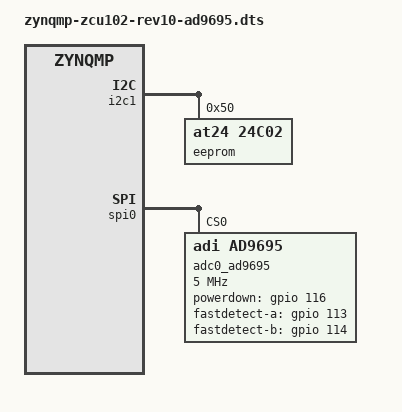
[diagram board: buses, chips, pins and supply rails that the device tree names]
// SPDX-License-Identifier: GPL-2.0
/*
 * Analog Devices AD9695 / AD9689 ANALOG-TO-DIGITAL CONVERTER
 * https://wiki.analog.com/resources/eval/ad9208-3000ebz
 * https://wiki.analog.com/resources/tools-software/linux-drivers/iio-adc/ad9208
 *
 * hdl_project: <ad9695/zcu102>
 * board_revision: <>
 *
 * Copyright (C) 2019-2022 Analog Devices Inc.
 */

#include "zynqmp-zcu102-rev1.0.dts"
#include <dt-bindings/interrupt-controller/irq.h>
#include <dt-bindings/iio/adc/adi,ad9208.h>
#include <dt-bindings/jesd204/adxcvr.h>

&i2c1 {
	i2c-mux@75 {
		i2c@0 {
			#address-cells = <1>;
			#size-cells = <0>;
			reg = <0>;

			eeprom@50 {
				compatible = "at24,24c02";
				reg = <0x50>;
			};
		};
	};
};

/ {
	clocks {
		ad9695_clkin: clock@0 {
			#clock-cells = <0>;
			compatible = "adjustable-clock";
			clock-frequency = <1300000000>;
			clock-accuracy = <1000000000>;
			clock-output-names = "ad9695_clk";
		};
		device_clk: clock@1 {
			#clock-cells = <0>;
			compatible = "adjustable-clock";
			clock-frequency = <325000000>;
			clock-accuracy = <1000000000>;
			clock-output-names = "dev_clk";
		};
		sysref: clock@2 {
			#clock-cells = <0>;
			compatible = "adjustable-clock";
			clock-frequency = <5078125>;
			clock-accuracy = <1000000000>;
			clock-output-names = "adc_sysref";
		};
	};
	fpga_axi: fpga-axi@0 {
		interrupt-parent = <&gic>;
		compatible = "simple-bus";
		#address-cells = <0x1>;
		#size-cells = <0x1>;
		ranges = <0 0 0 0xffffffff>;

		rx_dma: rx-dmac@9c400000 {
			#dma-cells = <1>;
			compatible = "adi,axi-dmac-1.00.a";
			reg = <0x9c400000 0x1000>;
			interrupts = <0 109 IRQ_TYPE_LEVEL_HIGH>;
			clocks = <&zynqmp_clk 71>;

			adi,channels {
				#size-cells = <0>;
				#address-cells = <1>;

				dma-channel@0 {
					reg = <0>;
					adi,source-bus-width = <128>;
					adi,source-bus-type = <1>;
					adi,destination-bus-width = <128>;
					adi,destination-bus-type = <0>;
				};
			};
		};

		axi_ad9695_core: axi-ad9695-hpc@84a00000 {
			compatible = "adi,axi-ad9208-1.0";
			reg = <0x84a00000 0x2000>;
			dmas = <&rx_dma 0>;
			dma-names = "rx";
			spibus-connected = <&adc0_ad9695>;
		};

		axi_ad9695_jesd: axi-jesd204-rx@84aa0000 {
			compatible = "adi,axi-jesd204-rx-1.0";
			reg = <0x84aa0000 0x4000>;
			interrupts = <0 108 IRQ_TYPE_LEVEL_HIGH>;

			clocks = <&zynqmp_clk 71>, <&device_clk>, <&axi_ad9695_adxcvr 0>;
			clock-names = "s_axi_aclk", "device_clk", "lane_clk";

			adi,octets-per-frame = <1>;
			adi,frames-per-multiframe = <32>;
			adi,subclass = <1>;

			#clock-cells = <0>;
			clock-output-names = "jesd_adc_lane_clk";
		};

		axi_ad9695_adxcvr: axi-adxcvr-rx@84a60000 {
			compatible = "adi,axi-adxcvr-1.0";
			reg = <0x84a60000 0x10000>;

			clocks = <&device_clk>, <&device_clk>;
			clock-names = "conv", "div40";

			adi,sys-clk-select = <XCVR_QPLL>;
			adi,out-clk-select = <XCVR_REFCLK>;
			adi,use-lpm-enable;

			#clock-cells = <1>;
			clock-output-names = "adc_gt_clk", "rx_out_clk";
		};

		axi_sysid_0: axi-sysid-0@85000000 {
			compatible = "adi,axi-sysid-1.00.a";
			reg = <0x85000000 0x2000>;
		};
	};
};

&spi0 {
	status = "okay";

	adc0_ad9695: ad9695@0 {
		compatible = "adi,ad9695";

		powerdown-gpios = <&gpio 116 0>;
		fastdetect-a-gpios = <&gpio 113 0>;
		fastdetect-b-gpios = <&gpio 114 0>;

		spi-cpol;
		spi-cpha;
		spi-max-frequency = <5000000>;
		reg = <0>;

		clocks = <&axi_ad9695_jesd>, <&ad9695_clkin>, <&sysref>;
		clock-names = "jesd_adc_clk", "adc_clk", "adc_sysref";

		adi,powerdown-mode = <AD9208_PDN_MODE_POWERDOWN>;

		adi,sampling-frequency = /bits/ 64 <1300000000>;
		adi,input-clock-divider-ratio = <1>;
		adi,duty-cycle-stabilizer-enable;

		adi,analog-input-neg-buffer-current = <AD9208_BUFF_CURR_600_UA>;
		adi,analog-input-pos-buffer-current = <AD9208_BUFF_CURR_600_UA>;

		adi,sysref-lmfc-offset = <0>;
		adi,sysref-pos-window-skew = <0>;
		adi,sysref-neg-window-skew = <0>;
		adi,sysref-mode = <AD9208_SYSREF_CONT>;
		adi,sysref-nshot-ignore-count = <0>;

		/* JESD204 parameters */

		adi,octets-per-frame = <1>;
		adi,frames-per-multiframe = <32>;
		adi,converter-resolution = <16>;
		adi,bits-per-sample = <16>;
		adi,converters-per-device = <2>;
		adi,control-bits-per-sample = <0>;
		adi,lanes-per-device = <4>;
		adi,subclass = <1>;

		#address-cells = <1>;
		#size-cells = <0>;

	};
};
